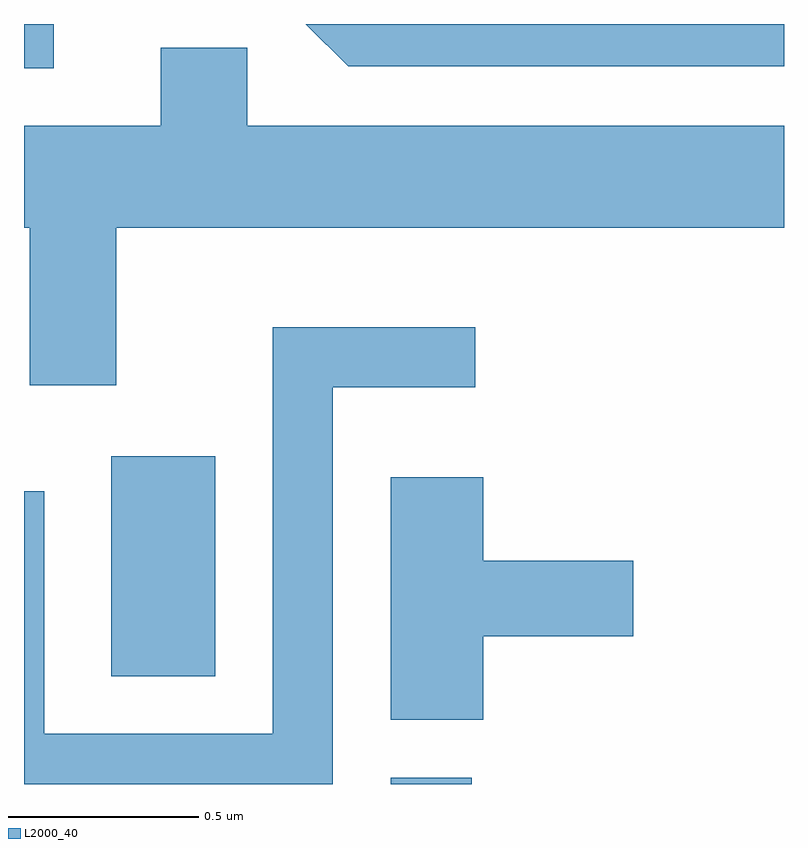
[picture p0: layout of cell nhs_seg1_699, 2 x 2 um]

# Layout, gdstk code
import gdstk
lib = gdstk.Library(unit=1e-6, precision=1e-09)
def R(c, l, rs):  # rectangles x0, y0, x1, y1
    for r in rs: c.add(gdstk.rectangle(r[:2], r[2:], *l))
def P(c, l, *ps):  # polygons
    for p in ps: c.add(gdstk.Polygon(p, *l))
L2000_40 = (2000, 40)

nhs_seg1_699 = lib.new_cell('nhs_seg1_699')
R(nhs_seg1_699, L2000_40, [(191.576,853.712,191.789,853.729), (190.841,853.996,191.114,854.574), (190.611,855.596,190.689,855.712)])
P(nhs_seg1_699, L2000_40, [(192.611,855.712),(191.353,855.712),(191.464,855.601),(192.611,855.601)],
  [(190.854,855.176),(192.611,855.176),(192.611,855.444),(191.199,855.444),(191.199,855.649),(190.971,855.649),(190.971,855.444),(190.611,855.444),(190.611,855.176),(190.626,855.176),(190.626,854.761),(190.854,854.761)],
  [(191.424,854.756),(191.798,854.756),(191.798,854.914),(191.266,854.914),(191.266,853.844),(190.664,853.844),(190.664,854.483),(190.611,854.483),(190.611,853.712),(191.424,853.712)],
  [(191.819,854.101),(192.214,854.101),(192.214,854.299),(191.819,854.299),(191.819,854.519),(191.576,854.519),(191.576,853.881),(191.819,853.881)])

lib.write_gds('nhs_seg1_699.gds')
